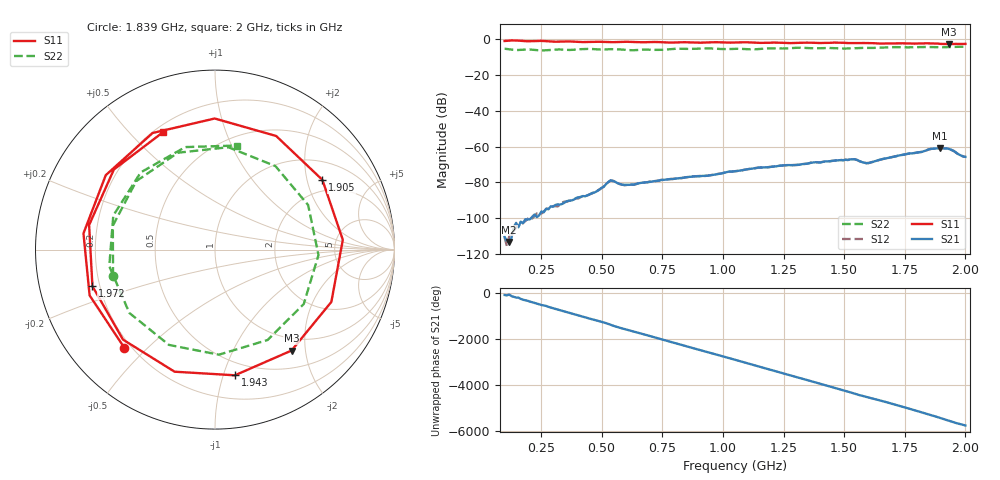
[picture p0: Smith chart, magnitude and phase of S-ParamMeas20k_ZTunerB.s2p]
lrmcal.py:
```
import sys
import skrf as rf
import numpy as np
import matplotlib.pyplot as plt
from skrf.calibration import TRL
from math import e

frequency = rf.Frequency(start=100e6, stop=2e9, npoints=201, unit='Hz')

T = rf.Network('./Results/thru/S-ParamMeas20k_thru.s2p')
R = rf.Network('./Results/reflect/S-ParamMeas20k_reflect.s2p')
L = rf.Network('./Results/line/S-ParamMeas20k_line.s2p')

media = rf.DefinedGammaZ0(frequency)
TRL= TRL(measured = [T, R, L])


delayList = [-350,-400,-450,-500,-550]

for delay in delayList:
	dut_raw = rf.Network('./Results/ZTunerD/S-ParamMeas20k_ZTunerD.s2p')
	dut_corrected = TRL.apply_cal(dut_raw)
	dut_corrected = dut_corrected.delay(delay,unit = 'ps', port =1)
	dut_corrected.plot_s_smith(m = 1, n = 1, label = 'S22_StateD')

	
	dut_raw2 = rf.Network('./Results/ZTunerC/S-ParamMeas20k_ZTunerC.s2p')
	dut_corrected2 = TRL.apply_cal(dut_raw2)
	dut_corrected2 = dut_corrected2.delay(delay,unit = 'ps', port =1)
	dut_corrected2.plot_s_smith(m = 1, n = 1, label = 'S22_StateC')

	dut_raw3 = rf.Network('./Results/ZTunerB/S-ParamMeas20k_ZTunerB.s2p')
	dut_corrected3 = TRL.apply_cal(dut_raw3)
	dut_corrected3 = dut_corrected3.delay(delay,unit = 'ps', port =1)
	dut_corrected3.plot_s_smith(m = 1, n = 1, label = 'S22_StateB')
	# dut_corrected1.plot_s_smith(m = 1, n = 1, label = 'S22_Delay')
	plt.axis([-1.1,2.1,-1.1,1.1])
	plt.show()
```
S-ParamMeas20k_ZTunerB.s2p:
!Keysight Technologies,N5242B,MY48420967,A.15.65.19
!Date: Monday, December 19, 2022 08:53:38
!Correction: S11(C  2-Port  )
!S21(C  2-Port  )
!S12(C  2-Port  )
!S22(C  2-Port  )
!S2P File: Measurements: S11, S21, S12, S22:
# Hz S  dB  R 50
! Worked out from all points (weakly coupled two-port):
!   201 points, 100 MHz to 2 GHz, reference 50 ohm
!   highest |S21| = -60.95 dB at 1.895 GHz (marker M1); lowest = -113.1 dB at 119 MHz (marker M2)
!   lowest |S11| = -3.0 dB at 1.933 GHz (marker M3), VSWR 5.80, Z = 38.9 - j87.1 ohm
!   |S11| at or under -10 dB: nowhere
!   |S22| runs from -6.5 to -4.5 dB; largest |S21 - S12| = 5.1e-06
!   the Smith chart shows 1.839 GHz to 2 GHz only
!   S11 on the Smith chart (normalised r, x): 1.839 GHz: 0.17, -0.43; 1.905 GHz: 1.57, +2.49; 1.943 GHz: 0.39, -1.09; 1.972 GHz: 0.17, -0.14; 2 GHz: 0.23, +0.63
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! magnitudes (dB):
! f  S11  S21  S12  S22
! 100 MHz  -1.3  -110.3  -110.6  -5.6
! 119 MHz  -1.0  -113.1  -110.0  -5.9
! 679.5 MHz  -2.0  -80.0  -80.1  -6.1
! 1.05 GHz  -2.1  -73.8  -73.7  -5.6
! 1.839 GHz  -2.6  -62.2  -62.2  -4.6
! 1.895 GHz  -2.9  -60.9  -60.9  -4.8
! 1.905 GHz  -2.9  -61.0  -61.0  -4.8
! 1.933 GHz  -3.0  -61.4  -61.4  -4.6
! 1.943 GHz  -3.0  -61.9  -61.9  -4.6
! 1.972 GHz  -2.9  -64.3  -64.4  -4.5
! 2 GHz  -2.9  -65.8  -65.8  -4.6
